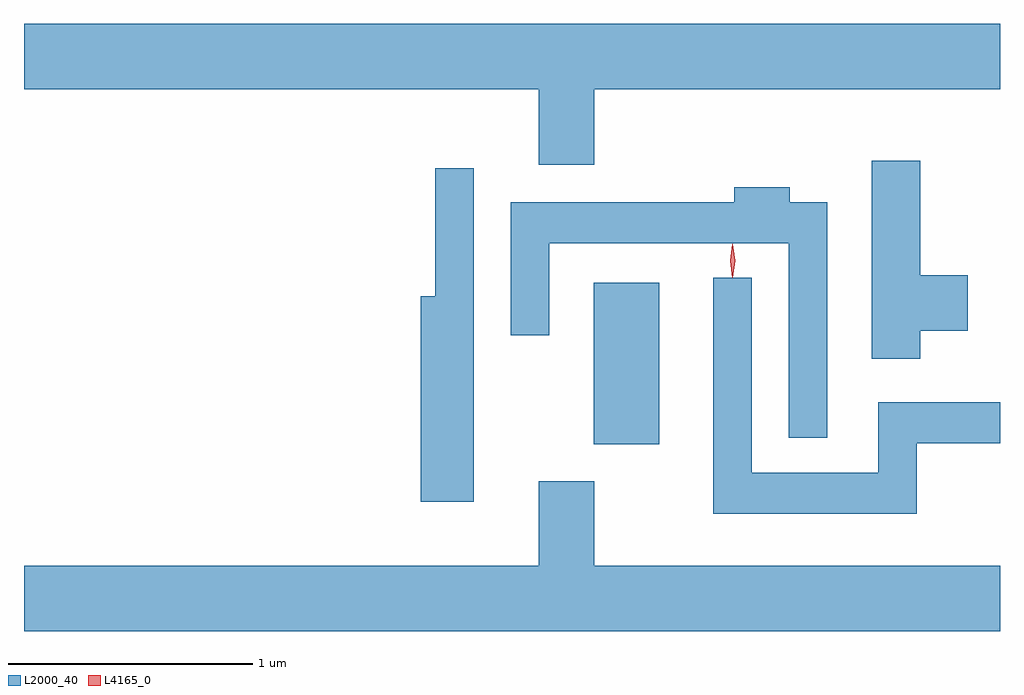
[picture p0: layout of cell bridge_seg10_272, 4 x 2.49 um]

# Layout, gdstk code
import gdstk
lib = gdstk.Library(unit=1e-6, precision=1e-09)
def R(c, l, rs):  # rectangles x0, y0, x1, y1
    for r in rs: c.add(gdstk.rectangle(r[:2], r[2:], *l))
def P(c, l, *ps):  # polygons
    for p in ps: c.add(gdstk.Polygon(p, *l))
L2000_40 = (2000, 40)
L4165_0 = (4165, 0)

bridge_seg10_272 = lib.new_cell('bridge_seg10_272')
R(bridge_seg10_272, L2000_40, [(1436.636,2216.801,1436.904,2217.464)])
P(bridge_seg10_272, L2000_40, [(1436.639,2218.256),(1438.301,2218.256),(1438.301,2218.524),(1434.301,2218.524),(1434.301,2218.256),(1436.411,2218.256),(1436.411,2217.946),(1436.639,2217.946)],
  [(1437.974,2217.266),(1438.169,2217.266),(1438.169,2217.494),(1437.974,2217.494),(1437.974,2217.964),(1437.776,2217.964),(1437.776,2217.151),(1437.974,2217.151)],
  [(1436.144,2217.933),(1435.986,2217.933),(1435.986,2217.409),(1435.926,2217.409),(1435.926,2216.566),(1436.144,2216.566)],
  [(1437.594,2217.794),(1437.439,2217.794),(1437.439,2217.854),(1437.211,2217.854),(1437.211,2217.794),(1436.296,2217.794),(1436.296,2217.248),(1436.454,2217.248),(1436.454,2217.626),(1437.436,2217.626),(1437.436,2216.828),(1437.594,2216.828)],
  [(1437.959,2216.806),(1438.301,2216.806),(1438.301,2216.974),(1437.801,2216.974),(1437.801,2216.684),(1437.284,2216.684),(1437.284,2217.483),(1437.126,2217.483),(1437.126,2216.516),(1437.959,2216.516)],
  [(1438.301,2216.304),(1436.639,2216.304),(1436.639,2216.649),(1436.411,2216.649),(1436.411,2216.304),(1434.301,2216.304),(1434.301,2216.036),(1438.301,2216.036)])
P(bridge_seg10_272, L4165_0, [(1437.204,2217.484),(1437.195,2217.553),(1437.204,2217.622),(1437.205,2217.623),(1437.205,2217.622),(1437.215,2217.553),(1437.205,2217.484),(1437.205,2217.484)])

lib.write_gds('bridge_seg10_272.gds')
